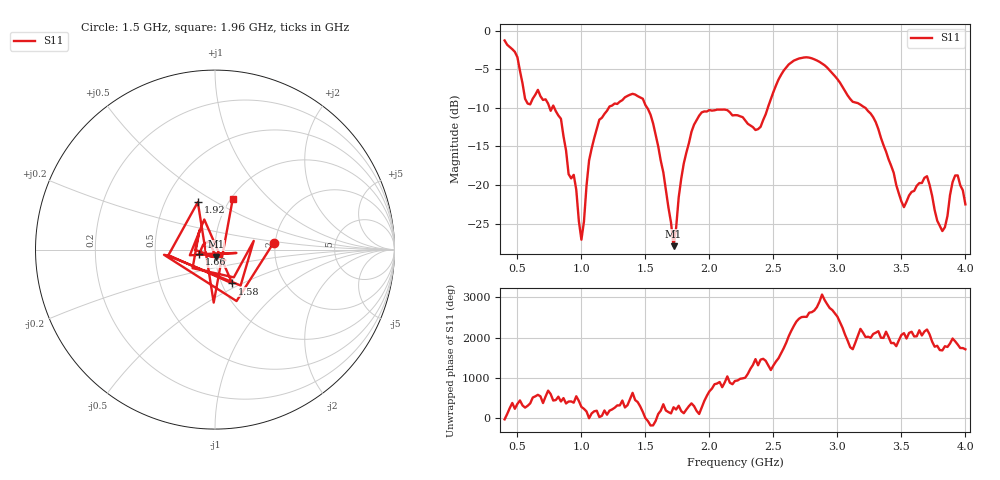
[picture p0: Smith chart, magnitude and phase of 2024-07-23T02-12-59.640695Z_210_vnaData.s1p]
!Created with skrf (http://scikit-rf.org).
# Hz S RI R 50.0
!freq ReS11 ImS11
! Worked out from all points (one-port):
!   181 points, 400 MHz to 4 GHz, reference 50 ohm
!   lowest |S11| = -27.9 dB at 1.72 GHz (marker M1), VSWR 1.08, Z = 50.3 - j4.02 ohm
!   |S11| at or under -10 dB: 788.1 MHz to 1.214 GHz (425.5 MHz wide, 42.5 % of centre); 1.514 GHz to 2.456 GHz (942.1 MHz wide, 47.5 % of centre); 3.218 GHz to end of sweep (the widest 3 of 4)
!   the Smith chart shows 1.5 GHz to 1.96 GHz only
!   S11 on the Smith chart (normalised r, x): 1.5 GHz: 1.96, +0.17; 1.58 GHz: 1.12, -0.44; 1.66 GHz: 0.83, -0.04; 1.92 GHz: 0.72, +0.42; 1.96 GHz: 1.02, +0.63
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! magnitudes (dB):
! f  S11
! 400 MHz  -1.3
! 580 MHz  -9.5
! 660 MHz  -7.7
! 860 MHz  -13.7
! 900 MHz  -18.6
! 940 MHz  -18.7
! 1 GHz  -27.1
! 1.06 GHz  -16.8
! 1.12 GHz  -12.7
! 1.3 GHz  -9.2
! 1.5 GHz  -9.6
! 1.58 GHz  -13.5
! 1.66 GHz  -20.6
! 1.72 GHz  -27.9
! 1.76 GHz  -21.6
! 1.92 GHz  -11.0
! 1.96 GHz  -10.5
! 2.2 GHz  -10.9
! 2.4 GHz  -12.5
! 2.66 GHz  -3.9
! 3.1 GHz  -8.8
! 3.3 GHz  -11.9
! 3.52 GHz  -22.9
! 3.56 GHz  -21.4
! 3.7 GHz  -18.9
! 3.82 GHz  -26.0
! 3.92 GHz  -18.8
! 4 GHz  -22.5
